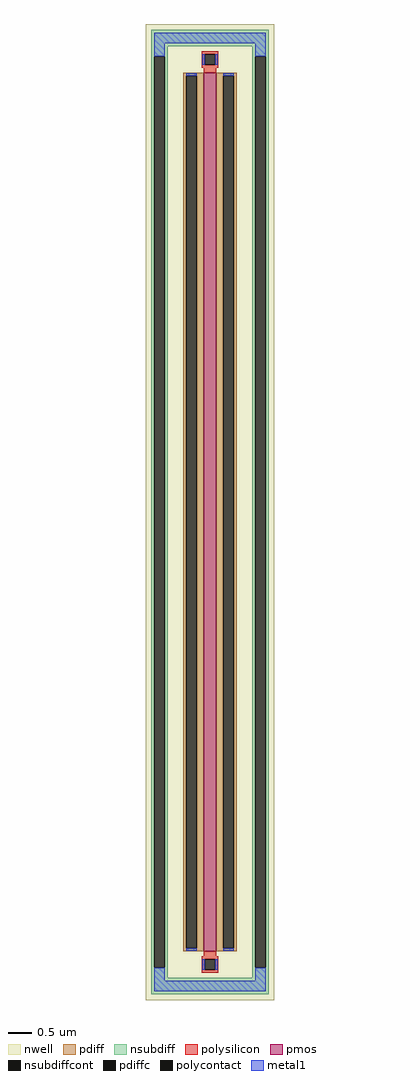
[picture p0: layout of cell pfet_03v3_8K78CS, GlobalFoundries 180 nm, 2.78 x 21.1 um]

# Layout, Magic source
magic
tech gf180mcuD
magscale 1 10
<< nwell >>
rect -278 -2110 278 2110
<< pmos >>
rect -28 -1900 28 1900
<< pdiff >>
rect -116 1887 -28 1900
rect -116 -1887 -103 1887
rect -57 -1887 -28 1887
rect -116 -1900 -28 -1887
rect 28 1887 116 1900
rect 28 -1887 57 1887
rect 103 -1887 116 1887
rect 28 -1900 116 -1887
<< pdiffc >>
rect -103 -1887 -57 1887
rect 57 -1887 103 1887
<< nsubdiff >>
rect -254 2014 254 2086
rect -254 1970 -182 2014
rect -254 -1970 -241 1970
rect -195 -1970 -182 1970
rect 182 1970 254 2014
rect -254 -2014 -182 -1970
rect 182 -1970 195 1970
rect 241 -1970 254 1970
rect 182 -2014 254 -1970
rect -254 -2086 254 -2014
<< nsubdiffcont >>
rect -241 -1970 -195 1970
rect 195 -1970 241 1970
<< polysilicon >>
rect -36 1979 36 1992
rect -36 1933 -23 1979
rect 23 1933 36 1979
rect -36 1920 36 1933
rect -28 1900 28 1920
rect -28 -1920 28 -1900
rect -36 -1933 36 -1920
rect -36 -1979 -23 -1933
rect 23 -1979 36 -1933
rect -36 -1992 36 -1979
<< polycontact >>
rect -23 1933 23 1979
rect -23 -1979 23 -1933
<< metal1 >>
rect -241 2027 241 2073
rect -241 1970 -195 2027
rect -34 1933 -23 1979
rect 23 1933 34 1979
rect 195 1970 241 2027
rect -103 1887 -57 1898
rect -103 -1898 -57 -1887
rect 57 1887 103 1898
rect 57 -1898 103 -1887
rect -241 -2027 -195 -1970
rect -34 -1979 -23 -1933
rect 23 -1979 34 -1933
rect 195 -2027 241 -1970
rect -241 -2073 241 -2027
<< properties >>
string FIXED_BBOX -218 -2050 218 2050
string gencell pfet_03v3
string library gf180mcu
string parameters w 19.0 l 0.28 m 1 nf 1 diffcov 100 polycov 100 guard 1 glc 1 grc 1 gtc 0 gbc 0 tbcov 100 rlcov 100 topc 1 botc 1 poverlap 0 doverlap 1 lmin 0.28 wmin 0.22 class mosfet full_metal 1 compatible {pfet_03v3 pfet_05v0 pfet_06v0} ad {int((nf+1)/2) * W/nf * 0.18u} as {int((nf+2)/2) * W/nf * 0.18u} pd {2*int((nf+1)/2) * (W/nf + 0.18u)} ps {2*int((nf+2)/2) * (W/nf + 0.18u)} nrd {0.18u / W} nrs {0.18u / W} sa 0 sb 0 sd 0
<< end >>
